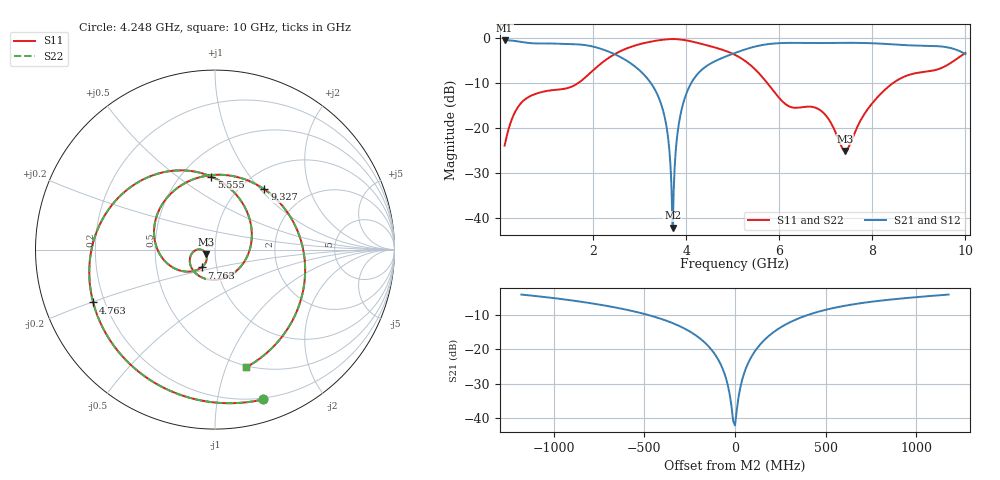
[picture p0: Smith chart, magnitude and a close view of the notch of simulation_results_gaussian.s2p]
! Touchstone 2-Port S-parameter file
# GHz S RI R 50.0
! Freq(GHz) Re(S11) Im(S11) Re(S21) Im(S21) Re(S12) Im(S12) Re(S22) Im(S22)
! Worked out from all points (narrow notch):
!   1001 points, 100 MHz to 10 GHz, reference 50 ohm
!   highest |S21| = -0.52 dB at 100 MHz (marker M1); lowest = -42.2 dB at 3.713 GHz (marker M2)
!   notch at M2: 40.5 dB deep, 198 MHz wide at half that depth
!   lowest |S11| = -25.2 dB at 7.416 GHz (marker M3), VSWR 1.12, Z = 45.2 - j2.15 ohm
!   |S11| at or under -10 dB: start of sweep to 1.69 GHz; 5.739 GHz to 8.455 GHz (2.716 GHz wide, 38.3 % of centre)
!   |S22| runs from -25.2 to -0.3 dB; largest |S21 - S12| = 0
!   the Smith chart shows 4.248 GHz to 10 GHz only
!   S11 on the Smith chart (normalised r, x): 4.248 GHz: 0.19, -1.36; 4.763 GHz: 0.16, -0.20; 5.555 GHz: 0.69, +0.67; 7.763 GHz: 0.84, -0.17; 9.327 GHz: 1.27, +1.05; 10 GHz: 0.49, -1.18
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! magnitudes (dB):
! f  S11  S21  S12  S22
! 100 MHz  -24.0  -0.5  -0.5  -24.0
! 535.6 MHz  -13.7  -1.0  -1.0  -13.7
! 1.753 GHz  -9.5  -1.5  -1.5  -9.5
! 2.793 GHz  -2.1  -5.6  -5.6  -2.1
! 3.407 GHz  -0.6  -13.2  -13.2  -0.6
! 3.575 GHz  -0.4  -19.6  -19.6  -0.4
! 3.674 GHz  -0.3  -30.5  -30.5  -0.3
! 3.713 GHz  -0.3  -42.2  -42.2  -0.3
! 3.812 GHz  -0.3  -21.4  -21.4  -0.3
! 3.892 GHz  -0.4  -16.5  -16.5  -0.4
! 4.248 GHz  -1.1  -8.0  -8.0  -1.1
! 4.763 GHz  -2.6  -4.5  -4.5  -2.6
! 5.05 GHz  -3.8  -3.4  -3.4  -3.8
! 5.555 GHz  -7.8  -1.8  -1.8  -7.8
! 6.169 GHz  -15.0  -1.1  -1.1  -15.0
! 6.703 GHz  -15.4  -1.2  -1.2  -15.4
! 7.02 GHz  -17.5  -1.2  -1.2  -17.5
! 7.416 GHz  -25.2  -1.1  -1.1  -25.2
! 7.763 GHz  -18.1  -1.2  -1.2  -18.1
! 8.357 GHz  -10.8  -1.4  -1.4  -10.8
! 9.327 GHz  -7.2  -1.8  -1.8  -7.2
! 10 GHz  -3.4  -3.6  -3.6  -3.4
